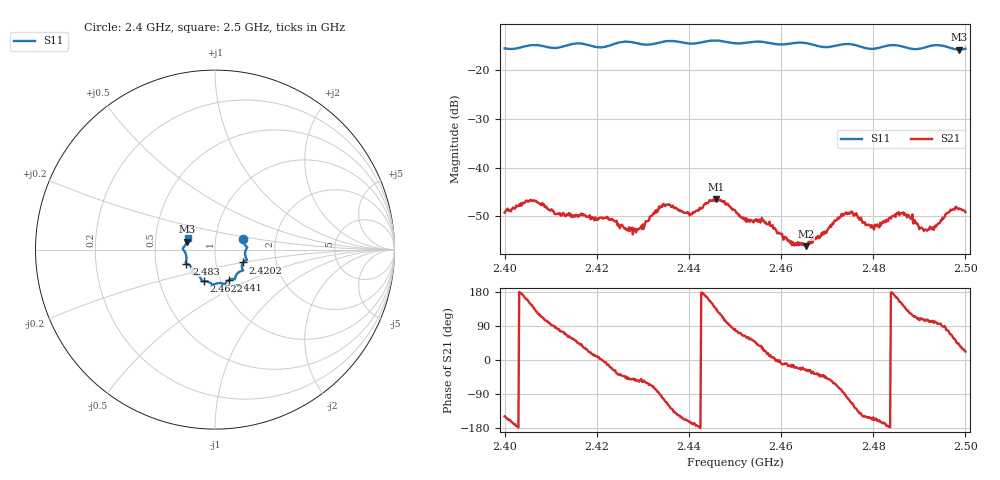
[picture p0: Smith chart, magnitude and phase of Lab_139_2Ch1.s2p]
# Hz S RI R 50
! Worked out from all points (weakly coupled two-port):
!   601 points, 2.4 GHz to 2.5 GHz, reference 50 ohm
!   highest |S21| = -46.42 dB at 2.4458 GHz (marker M1); lowest = -56.1 dB at 2.4653 GHz (marker M2)
!   lowest |S11| = -15.8 dB at 2.4987 GHz (marker M3), VSWR 1.39, Z = 36.4 + j3.33 ohm
!   |S11| at or under -10 dB: start of sweep to end of sweep
!   S12 and S22 are empty: the file has one direction only
!   S11 on the Smith chart (normalised r, x): 2.4 GHz: 1.36, +0.17; 2.4202 GHz: 1.35, -0.20; 2.441 GHz: 1.09, -0.39; 2.4622 GHz: 0.83, -0.30; 2.483 GHz: 0.72, -0.12; 2.5 GHz: 0.73, +0.09
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2.4e9  0.1559 0.0605  -0.00296 -0.0018  0 0  0 0
2.406e9  0.1798 0.0137  -0.00367 0.00274  0 0  0 0
2.411333e9  0.1671 -0.0232  0.000394 0.00336  0 0  0 0
2.416667e9  0.1774 -0.0582  0.00255 0.00225  0 0  0 0
2.420167e9  0.1557 -0.0719  0.00298 0.000396  0 0  0 0
2.428333e9  0.1492 -0.1182  0.00148 -0.00181  0 0  0 0
2.433333e9  0.1127 -0.1527  0.000404 -0.00369  0 0  0 0
2.441e9  0.0765 -0.1702  -0.00345 -0.000664  0 0  0 0
2.445833e9  0.0523 -0.1941  -0.00341 0.00334  0 0  0 0
2.45e9  0.0263 -0.1862  0.000533 0.00363  0 0  0 0
2.457667e9  -0.0226 -0.1875  0.00247 0.00056  0 0  0 0
2.462167e9  -0.0634 -0.1764  0.00168 -0.000534  0 0  0 0
2.465333e9  -0.0745 -0.1738  0.00139 -0.000728  0 0  0 0
2.466667e9  -0.0763 -0.1667  0.00152 -0.00106  0 0  0 0
2.473667e9  -0.1238 -0.1365  0.000161 -0.00329  0 0  0 0
2.479667e9  -0.134 -0.0961  -0.00236 -0.00102  0 0  0 0
2.483e9  -0.1594 -0.078  -0.00287 -0.000296  0 0  0 0
2.483333e9  -0.1611 -0.0775  -0.00298 -0.000212  0 0  0 0
2.486333e9  -0.1616 -0.0653  -0.00287 0.00187  0 0  0 0
2.4915e9  -0.1721 -0.0064  -0.000667 0.00222  0 0  0 0
2.498667e9  -0.1557 0.0445  0.00295 0.00243  0 0  0 0
2.5e9  -0.1527 0.0633  0.00325 0.00132  0 0  0 0
